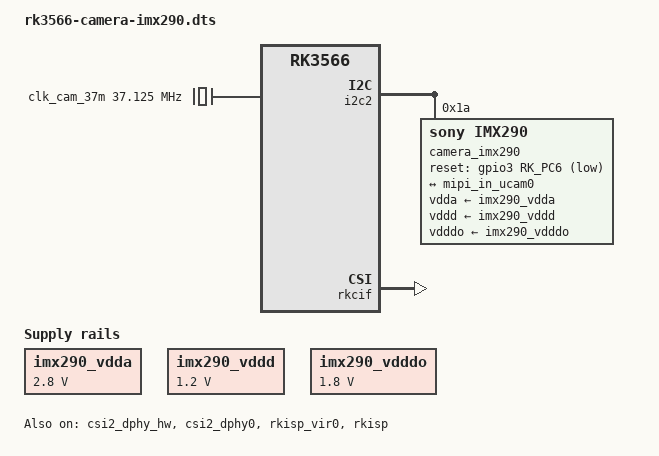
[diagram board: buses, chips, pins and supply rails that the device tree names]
/*
 * Device tree overlay for IMX290/IMX327 (Low-Light Camera) on RK3566
 *
 * Sony IMX290/IMX327 - 2MP MIPI CSI-2 sensor for low-light/starlight
 * The IMX290 and IMX327 use the same driver (imx290)
 * Excellent for night vision and security applications
 *
 * Compatible with Radxa Zero 3W and similar RK3566-based boards
 * Uses I2C2 and CSI2 DPHY0 in full mode (2 lanes)
 *
 * Note: IMX290 supports 1080p120, IMX327 supports 1080p60
 *
 * Copyright (c) 2024 MYSh LLC
 */
/dts-v1/;
/plugin/;

#include "dt-bindings.h"

/ {
	compatible = "rockchip,rk3566";

	metadata {
		title = "IMX290/IMX327 Camera (Low-Light 2MP)";
		category = "camera";
		exclusive = "csi2_dphy0";
		description = "Enable Sony IMX290/IMX327 2MP low-light camera sensor on CSI2 DPHY0";
	};
};

&{/} {
	clk_cam_37m: external-camera-clock-37m {
		status = "okay";
		compatible = "fixed-clock";
		clock-frequency = <37125000>;
		clock-output-names = "clk_cam_37m";
		#clock-cells = <0>;
	};

	imx290_vdda: imx290-vdda {
		status = "okay";
		compatible = "regulator-fixed";
		regulator-name = "imx290_vdda";
		regulator-min-microvolt = <2800000>;
		regulator-max-microvolt = <2800000>;
		regulator-always-on;
		regulator-boot-on;
	};

	imx290_vddd: imx290-vddd {
		status = "okay";
		compatible = "regulator-fixed";
		regulator-name = "imx290_vddd";
		regulator-min-microvolt = <1200000>;
		regulator-max-microvolt = <1200000>;
		regulator-always-on;
		regulator-boot-on;
	};

	imx290_vdddo: imx290-vdddo {
		status = "okay";
		compatible = "regulator-fixed";
		regulator-name = "imx290_vdddo";
		regulator-min-microvolt = <1800000>;
		regulator-max-microvolt = <1800000>;
		regulator-always-on;
		regulator-boot-on;
	};
};

&i2c2 {
	status = "okay";
	pinctrl-names = "default";
	pinctrl-0 = <&i2c2m1_xfer>;
	#address-cells = <1>;
	#size-cells = <0>;

	camera_imx290: camera-imx290@1a {
		status = "okay";
		compatible = "sony,imx290";
		reg = <0x1a>;
		clocks = <&clk_cam_37m>;
		clock-names = "xclk";

		vdda-supply = <&imx290_vdda>;
		vddd-supply = <&imx290_vddd>;
		vdddo-supply = <&imx290_vdddo>;

		reset-gpios = <&gpio3 RK_PC6 GPIO_ACTIVE_LOW>;

		rockchip,camera-module-index = <0>;
		rockchip,camera-module-facing = "back";
		rockchip,camera-module-name = "imx290";
		rockchip,camera-module-lens-name = "default";

		port {
			imx290_out: endpoint {
				remote-endpoint = <&mipi_in_ucam0>;
				data-lanes = <1 2>;
				link-frequencies = /bits/ 64 <222750000>;
			};
		};
	};
};

&csi2_dphy_hw {
	status = "okay";
};

&csi2_dphy0 {
	status = "okay";

	ports {
		#address-cells = <1>;
		#size-cells = <0>;

		port@0 {
			reg = <0>;
			#address-cells = <1>;
			#size-cells = <0>;

			mipi_in_ucam0: endpoint@1 {
				reg = <1>;
				remote-endpoint = <&imx290_out>;
				data-lanes = <1 2>;
			};
		};

		port@1 {
			reg = <1>;
			#address-cells = <1>;
			#size-cells = <0>;

			dphy0_out: endpoint@1 {
				reg = <1>;
				remote-endpoint = <&isp0_in>;
			};
		};
	};
};

&rkisp_vir0 {
	status = "okay";

	port {
		#address-cells = <1>;
		#size-cells = <0>;

		isp0_in: endpoint@0 {
			reg = <0>;
			remote-endpoint = <&dphy0_out>;
		};
	};
};

&rkisp {
	status = "okay";
};

&rkisp_mmu {
	status = "okay";
};

&rkcif_mmu {
	status = "okay";
};

&rkcif {
	status = "okay";
};
